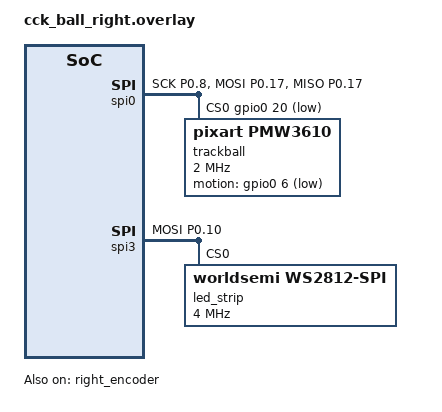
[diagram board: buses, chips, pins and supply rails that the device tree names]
/*
 * Copyright (c) 2020 ZMK Contributors
 *
 * SPDX-License-Identifier: MIT
 */
 
#include "cck_ball.dtsi"

/* This provides the codes for X/Y movement (INPUT_REL_X) */
#include <zephyr/dt-bindings/input/input-event-codes.h>

/* This provides the mouse button and movement behaviors if you need them later */
#include <dt-bindings/zmk/pointing.h>

&default_transform {
    col-offset = <6>;
}; 

&kscan0 {
	col-gpios
		= <&gpio1 15 GPIO_ACTIVE_HIGH>
        , <&gpio0 9 GPIO_ACTIVE_HIGH>
        , <&gpio0 10 GPIO_ACTIVE_HIGH>
        , <&gpio1 11 GPIO_ACTIVE_HIGH>
        , <&gpio1 4 GPIO_ACTIVE_HIGH>
        , <&gpio1 6 GPIO_ACTIVE_HIGH>
		;
};

// trackball
&pinctrl {
    spi0_default: spi0_default {
        group1 {
            psels = <NRF_PSEL(SPIM_SCK, 0, 8)>,
                <NRF_PSEL(SPIM_MOSI, 0, 17)>,
                <NRF_PSEL(SPIM_MISO, 0, 17)>;
        };
    };

    spi0_sleep: spi0_sleep {
        group1 {
            psels = <NRF_PSEL(SPIM_SCK, 0, 8)>,
                <NRF_PSEL(SPIM_MOSI, 0, 17)>,
                <NRF_PSEL(SPIM_MISO, 0, 17)>;
            low-power-enable;
        };
    };
};

&spi0 {
    status = "okay";
    compatible = "nordic,nrf-spim";
    pinctrl-0 = <&spi0_default>;
    pinctrl-1 = <&spi0_sleep>;
    pinctrl-names = "default", "sleep";
    cs-gpios = <&gpio0 20 GPIO_ACTIVE_LOW>;

    trackball: trackball@0 {
        status = "okay";
        compatible = "pixart,pmw3610";
        reg = <0>;
        spi-max-frequency = <2000000>;
		res-cpi = <800>;
        motion-gpios = <&gpio0 6 (GPIO_ACTIVE_LOW | GPIO_PULL_UP)>;
	    zephyr,axis-x = <INPUT_REL_X>;
        zephyr,axis-y = <INPUT_REL_Y>;
        // automouse-layer = <3>;
    };
};


//RGB bus
&pinctrl {
    spi3_default: spi3_default {
        group1 {
            psels = <NRF_PSEL(SPIM_MOSI, 0, 10)>;
        };
    };

    spi3_sleep: spi3_sleep {
        group1 {
            psels = <NRF_PSEL(SPIM_MOSI, 0, 10)>;
            low-power-enable;
        };
    };
};

&spi3 {
    compatible = "nordic,nrf-spim";
    status = "okay";

    pinctrl-0 = <&spi3_default>;
    pinctrl-1 = <&spi3_sleep>;
    pinctrl-names = "default", "sleep";

    led_strip: ws2812@0 {
        compatible = "worldsemi,ws2812-spi";

        /* SPI */
        reg = <0>; /* ignored, but necessary for SPI bindings */
        spi-max-frequency = <4000000>;

        /* WS2812 */
        chain-length = <27>; /* number of LEDs */
        spi-one-frame = <0x70>;
        spi-zero-frame = <0x40>;
        color-mapping = <LED_COLOR_ID_GREEN
                         LED_COLOR_ID_RED
                         LED_COLOR_ID_BLUE>;
    };
};

// enable right encoder
&right_encoder {
	compatible = "alps,ec11";
    a-gpios = <&gpio0 10 (GPIO_ACTIVE_LOW | GPIO_PULL_UP)>;
    b-gpios = <&gpio0 11 (GPIO_ACTIVE_LOW | GPIO_PULL_UP)>;
	status = "okay";
};


/ {
    /* 1. Combine everything into ONE listener for the trackball. 
       Multiple listeners on the same device can cause unpredictable behavior.
    */
    trackball_listener {
        compatible = "zmk,input-listener";
        device = <&trackball>;

        /* Snipe Mode (Layer 4) */
        snipe_mode {
            layers = <4>;
            input-processors = <&snipe_scaler 1 3>; 
        };
        
        /* Vertical Scroll Mode (Layer 1) */
        scroll_mode {
            layers = <1>;
            /* We use the scaler to zero out X and keep Y at 1:1, then map Y to Wheel */
            input-processors = <&xy_to_scroll_mapper>;
        };
    };
	
	/* 2. The Input Listener: This is the 'Brain' */
    encoder_listener {
        compatible = "zmk,input-listener";
        device = <&right_encoder>;
        
        /* This mapper turns the encoder's 'ticks' into 'scrolls' */
        input-processors = <&encoder_to_wheel_mapper>;
    };

    /* 2. All input processors should ideally live inside this block 
    */
    input_processors {
        snipe_scaler: snipe_scaler {
            compatible = "zmk,input-processor-scaler";
            #input-processor-cells = <2>;
            type = <INPUT_EV_REL>;
            codes = <INPUT_REL_X INPUT_REL_Y>;
            track-remainders;
        };

		xy_to_scroll_mapper: xy_to_scroll_mapper {
            compatible = "zmk,input-processor-code-mapper";
            #input-processor-cells = <0>;
            type = <INPUT_EV_REL>;
            /* The map works in pairs: <Original Target> */
            map = <INPUT_REL_X INPUT_REL_HWHEEL>, <INPUT_REL_Y INPUT_REL_WHEEL>;
        };
		
		encoder_to_wheel_mapper: encoder_to_wheel_mapper {
            compatible = "zmk,input-processor-code-mapper";
            #input-processor-cells = <0>;
            type = <INPUT_EV_REL>;
            /* Map the relative signal of the encoder to the Vertical Wheel axis */
            map = <INPUT_REL_MISC INPUT_REL_WHEEL>;
        };
    };
};
